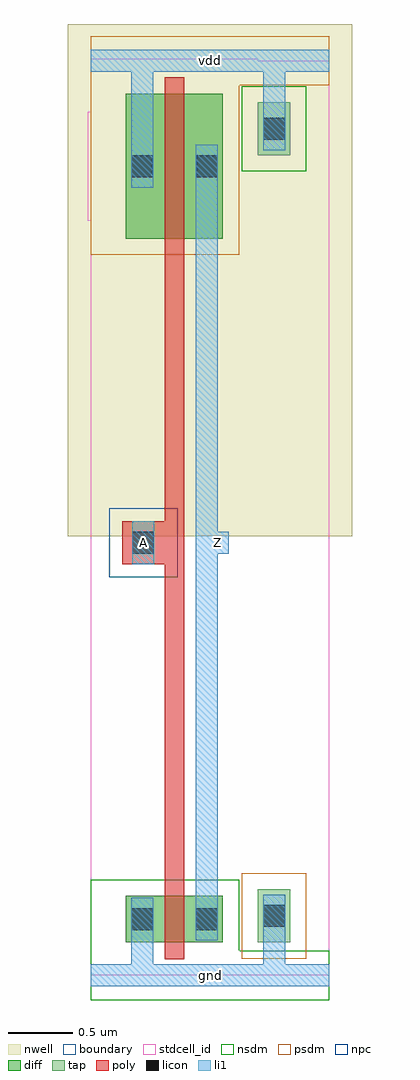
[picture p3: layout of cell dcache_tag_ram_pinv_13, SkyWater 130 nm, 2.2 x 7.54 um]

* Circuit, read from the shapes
.subckt dcache_tag_ram_pinv_13 A Z gnd vdd
XM1 Z A gnd gnd sky130_fd_pr__nfet_01v8 w=0.36 l=0.15
XM2 Z A vdd vdd sky130_fd_pr__pfet_01v8 w=1.12 l=0.15
.ends

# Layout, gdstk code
import gdstk
lib = gdstk.Library(unit=1e-6, precision=1e-09)
def R(c, l, rs):  # rectangles x0, y0, x1, y1
    for r in rs: c.add(gdstk.rectangle(r[:2], r[2:], *l))
nwell = (64, 20)
diff = (65, 20)
tap = (65, 44)
poly = (66, 20)
licon = (66, 44)
li1 = (67, 20)
stdcell_id = (81, 4)
nsdm = (93, 44)
psdm = (94, 20)
npc = (95, 20)
boundary = (235, 4)

dcache_tag_ram_contact_1 = lib.new_cell('dcache_tag_ram_contact_11')
R(dcache_tag_ram_contact_1, nwell, [(-0.295,-0.255,0.545,0.585)])
R(dcache_tag_ram_contact_1, diff, [(0,0.02,0.25,0.31)])
R(dcache_tag_ram_contact_1, licon, [(0.04,0.08,0.21,0.25)])
R(dcache_tag_ram_contact_1, li1, [(0.04,0,0.21,0.33)])
R(dcache_tag_ram_contact_1, stdcell_id, [(-0.295,-0.255,0.545,0.585)])
R(dcache_tag_ram_contact_1, psdm, [(-0.125,-0.105,0.375,0.435)])
R(dcache_tag_ram_contact_1, boundary, [(-0.295,-0.255,0.545,0.585)])

dcache_tag_ram_pmos_m1_w = lib.new_cell('dcache_tag_ram_pmos_m1_w1_120_sli_dli_da_p')
R(dcache_tag_ram_pmos_m1_w, nwell, [(-0.27,-0.27,1.02,1.39)])
R(dcache_tag_ram_pmos_m1_w, diff, [(0,0,0.75,1.12)])
R(dcache_tag_ram_pmos_m1_w, poly, [(0.3,-0.13,0.45,1.25), (0.3,-0.13,0.45,1.25)])
R(dcache_tag_ram_pmos_m1_w, li1, [(0.04,0.395,0.21,0.725), (0.54,0.395,0.71,0.725)])
R(dcache_tag_ram_pmos_m1_w, stdcell_id, [(-0.27,-0.27,1.02,1.39)])
R(dcache_tag_ram_pmos_m1_w, psdm, [(-0.125,-0.125,0.875,1.245)])
R(dcache_tag_ram_pmos_m1_w, boundary, [(-0.27,-0.27,1.02,1.39)])
dcache_tag_ram_pmos_m1_w.add(gdstk.Reference(dcache_tag_ram_contact_1, (0,0.395)))
dcache_tag_ram_pmos_m1_w.add(gdstk.Reference(dcache_tag_ram_contact_1, (0.5,0.395)))
dcache_tag_ram_pmos_m1_w.add(gdstk.Label('G', (0.375,0.56), layer=66, texttype=5))
dcache_tag_ram_pmos_m1_w.add(gdstk.Label('S', (0.125,0.56), layer=67, texttype=5))
dcache_tag_ram_pmos_m1_w.add(gdstk.Label('D', (0.625,0.56), layer=67, texttype=5))

c_dcache_tag_ram_contact_1 = lib.new_cell('dcache_tag_ram_contact_10')
R(c_dcache_tag_ram_contact_1, diff, [(0,0.02,0.25,0.31)])
R(c_dcache_tag_ram_contact_1, licon, [(0.04,0.08,0.21,0.25)])
R(c_dcache_tag_ram_contact_1, li1, [(0.04,0,0.21,0.33)])
R(c_dcache_tag_ram_contact_1, stdcell_id, [(-0.125,-0.105,0.375,0.435)])
R(c_dcache_tag_ram_contact_1, nsdm, [(-0.125,-0.105,0.375,0.435)])
R(c_dcache_tag_ram_contact_1, boundary, [(-0.125,-0.105,0.375,0.435)])

dcache_tag_ram_nmos_m1_w = lib.new_cell('dcache_tag_ram_nmos_m1_w0_360_sli_dli_da_p')
R(dcache_tag_ram_nmos_m1_w, diff, [(0,0,0.75,0.36)])
R(dcache_tag_ram_nmos_m1_w, poly, [(0.3,-0.13,0.45,0.49), (0.3,-0.13,0.45,0.49)])
R(dcache_tag_ram_nmos_m1_w, li1, [(0.04,0.015,0.21,0.345), (0.54,0.015,0.71,0.345)])
R(dcache_tag_ram_nmos_m1_w, stdcell_id, [(-0.125,-0.13,0.875,0.49)])
R(dcache_tag_ram_nmos_m1_w, nsdm, [(-0.125,-0.125,0.875,0.485)])
R(dcache_tag_ram_nmos_m1_w, boundary, [(-0.125,-0.13,0.875,0.49)])
dcache_tag_ram_nmos_m1_w.add(gdstk.Reference(c_dcache_tag_ram_contact_1, (0,0.015)))
dcache_tag_ram_nmos_m1_w.add(gdstk.Reference(c_dcache_tag_ram_contact_1, (0.5,0.015)))
dcache_tag_ram_nmos_m1_w.add(gdstk.Label('G', (0.375,0.18), layer=66, texttype=5))
dcache_tag_ram_nmos_m1_w.add(gdstk.Label('S', (0.125,0.18), layer=67, texttype=5))
dcache_tag_ram_nmos_m1_w.add(gdstk.Label('D', (0.625,0.18), layer=67, texttype=5))

dcache_tag_ram_contact_2 = lib.new_cell('dcache_tag_ram_contact_24')
R(dcache_tag_ram_contact_2, nwell, [(-0.295,-0.215,0.545,0.625)])
R(dcache_tag_ram_contact_2, tap, [(0,0,0.25,0.41)])
R(dcache_tag_ram_contact_2, licon, [(0.04,0.12,0.21,0.29)])
R(dcache_tag_ram_contact_2, li1, [(0.04,0.04,0.21,0.37)])
R(dcache_tag_ram_contact_2, stdcell_id, [(-0.295,-0.215,0.545,0.625)])
R(dcache_tag_ram_contact_2, nsdm, [(-0.125,-0.125,0.375,0.535)])
R(dcache_tag_ram_contact_2, boundary, [(-0.295,-0.215,0.545,0.625)])

c_dcache_tag_ram_contact_2 = lib.new_cell('dcache_tag_ram_contact_25')
R(c_dcache_tag_ram_contact_2, tap, [(0,0,0.25,0.41)])
R(c_dcache_tag_ram_contact_2, licon, [(0.04,0.12,0.21,0.29)])
R(c_dcache_tag_ram_contact_2, li1, [(0.04,0.04,0.21,0.37)])
R(c_dcache_tag_ram_contact_2, stdcell_id, [(-0.125,-0.125,0.375,0.535)])
R(c_dcache_tag_ram_contact_2, psdm, [(-0.125,-0.125,0.375,0.535)])
R(c_dcache_tag_ram_contact_2, boundary, [(-0.125,-0.125,0.375,0.535)])

c_dcache_tag_ram_contact_1_ = lib.new_cell('dcache_tag_ram_contact_15')
R(c_dcache_tag_ram_contact_1_, poly, [(0,0,0.33,0.33)])
R(c_dcache_tag_ram_contact_1_, licon, [(0.08,0.08,0.25,0.25)])
R(c_dcache_tag_ram_contact_1_, li1, [(0.08,0,0.25,0.33)])
R(c_dcache_tag_ram_contact_1_, stdcell_id, [(-0.1,-0.1,0.43,0.43)])
R(c_dcache_tag_ram_contact_1_, npc, [(-0.1,-0.1,0.43,0.43)])
R(c_dcache_tag_ram_contact_1_, boundary, [(-0.1,-0.1,0.43,0.43)])

dcache_tag_ram_pinv_13 = lib.new_cell('dcache_tag_ram_pinv_13')
R(dcache_tag_ram_pinv_13, nwell, [(-0.18,3.395,2.02,7.355)])
R(dcache_tag_ram_pinv_13, poly, [(0.57,0.745,0.72,5.565), (0.405,3.18,0.57,3.51)])
R(dcache_tag_ram_pinv_13, li1, [(0,-0.085,1.84,0.085), (0.31,-0.085,0.48,0.27), (1.33,0,1.5,0.46), (0.81,0.27,0.98,6.42), (0.32,3.18,0.49,3.51), (0.895,3.26,1.065,3.43), (0.31,6.09,0.48,7.155), (1.33,6.545,1.5,7.07), (0,6.985,1.84,7.155)])
R(dcache_tag_ram_pinv_13, stdcell_id, [(0,0,1.84,7.07), (0,0,1.84,7.07)])
R(dcache_tag_ram_pinv_13, nsdm, [(0,-0.19,1.84,0.19), (0,0,1.145,0.74)])
R(dcache_tag_ram_pinv_13, psdm, [(0,5.57,1.145,7.07), (0,6.88,1.84,7.26)])
R(dcache_tag_ram_pinv_13, boundary, [(0,0,1.84,7.07), (0,0,1.84,7.07)])
dcache_tag_ram_pinv_13.add(gdstk.Reference(dcache_tag_ram_pmos_m1_w, (0.27,5.695)))
dcache_tag_ram_pinv_13.add(gdstk.Reference(dcache_tag_ram_nmos_m1_w, (0.27,0.255)))
dcache_tag_ram_pinv_13.add(gdstk.Reference(dcache_tag_ram_contact_2, (1.29,6.34)))
dcache_tag_ram_pinv_13.add(gdstk.Reference(c_dcache_tag_ram_contact_2, (1.29,0.255)))
dcache_tag_ram_pinv_13.add(gdstk.Reference(c_dcache_tag_ram_contact_1_, (0.24,3.18)))
dcache_tag_ram_pinv_13.add(gdstk.Label('A', (0.405,3.345), layer=67, texttype=5))
dcache_tag_ram_pinv_13.add(gdstk.Label('Z', (0.98,3.345), layer=67, texttype=5))
dcache_tag_ram_pinv_13.add(gdstk.Label('gnd', (0.92,0), layer=67, texttype=5))
dcache_tag_ram_pinv_13.add(gdstk.Label('vdd', (0.92,7.07), layer=67, texttype=5))

lib.write_gds('dcache_tag_ram_pinv_13.gds')
